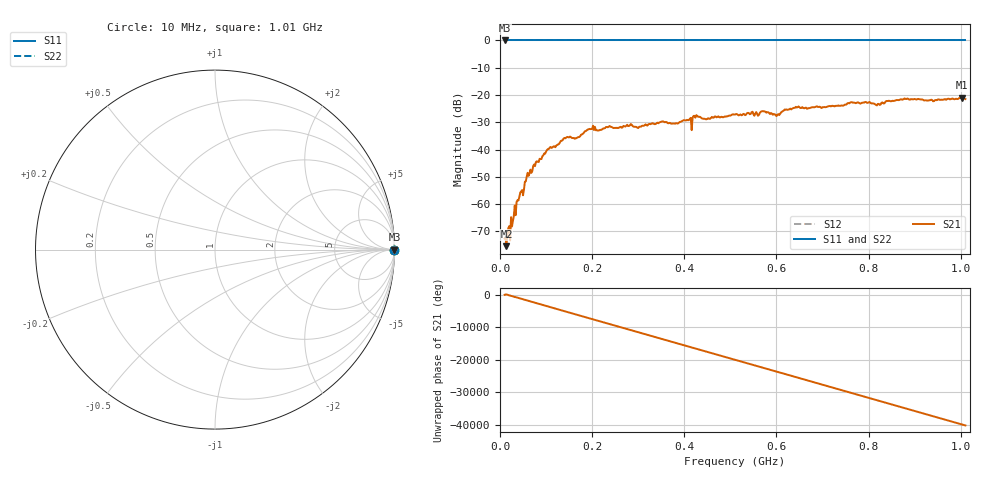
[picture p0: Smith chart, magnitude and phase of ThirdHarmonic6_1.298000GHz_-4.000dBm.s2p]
! 8/16/2025 2:15:11 PM
! C:\ANRITSUVNA\TEMP\TEMP.S2P
! CHANNEL.1
! TR.MEASUREMENT
! RAW.DATA
! RF.CORRECTION.OFF
! AVERAGING.OFF
! IF.BANDWIDTH: 5KHZ
! SWEEPTYPE:  FREQ.SWEEP(Linear)
! Reference Plane Port Info
! PORT:  PORT1  PORT2
! DISTANCE:  0  m  0  m
! TIME:  0  s  0  s
! PHASE.OFFSET:  0  deg.  0  deg.
! LOSS:  0  dB  0  dB
! REF.LOSS:  0  dB  0  dB
! REF.FREQ:  0  Hz  0  Hz
! Power Info
! POWER:  -20  dBm  -20  dBm
! EFF.POWER:  -20  dBm  -20  dBm
! SOURCE.ATTEN:  0  dB  0  dB
! TEST.ATTEN:  0  dB  0  dB
# GHZ S RI R 50.0
! FREQ.GHZ  S11RE  S11IM  S21RE  S21IM  S12RE  S12IM  S22RE  S22IM
!; PortSelection: Port_12
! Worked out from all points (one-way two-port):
!   501 points, 10 MHz to 1.01 GHz, reference 50 ohm
!   highest |S21| = -20.93 dB at 1.002 GHz (marker M1); lowest = -75.4 dB at 14 MHz (marker M2)
!   lowest |S11| = 0.0 dB at 10 MHz (marker M3)
!   |S11| at or under -10 dB: nowhere
!   |S22| runs from 0.0 to 0.0 dB; largest |S21 - S12| = 1.1
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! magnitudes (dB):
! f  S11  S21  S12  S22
! 10 MHz  0.0  -72.6  0.0  0.0
! 14 MHz  0.0  -75.4  0.0  0.0
! 26 MHz  0.0  -68.2  0.0  0.0
! 28 MHz  0.0  -66.2  0.0  0.0
! 30 MHz  0.0  -64.3  0.0  0.0
! 40 MHz  0.0  -58.7  0.0  0.0
! 62 MHz  0.0  -49.6  0.0  0.0
! 76 MHz  0.0  -46.1  0.0  0.0
! 106 MHz  0.0  -39.8  0.0  0.0
! 142 MHz  0.0  -35.9  0.0  0.0
! 178 MHz  0.0  -34.4  0.0  0.0
! 198 MHz  0.0  -32.5  0.0  0.0
! 302 MHz  0.0  -31.6  0.0  0.0
! 344 MHz  0.0  -30.4  0.0  0.0
! 510 MHz  0.0  -27.1  0.0  0.0
! 572 MHz  0.0  -26.0  0.0  0.0
! 602 MHz  0.0  -27.2  0.0  0.0
! 644 MHz  0.0  -24.6  0.0  0.0
! 678 MHz  0.0  -24.5  0.0  0.0
! 844 MHz  0.0  -22.1  0.0  0.0
! 1.002 GHz  0.0  -20.9  0.0  0.0
! 1.01 GHz  0.0  -21.5  0.0  0.0
